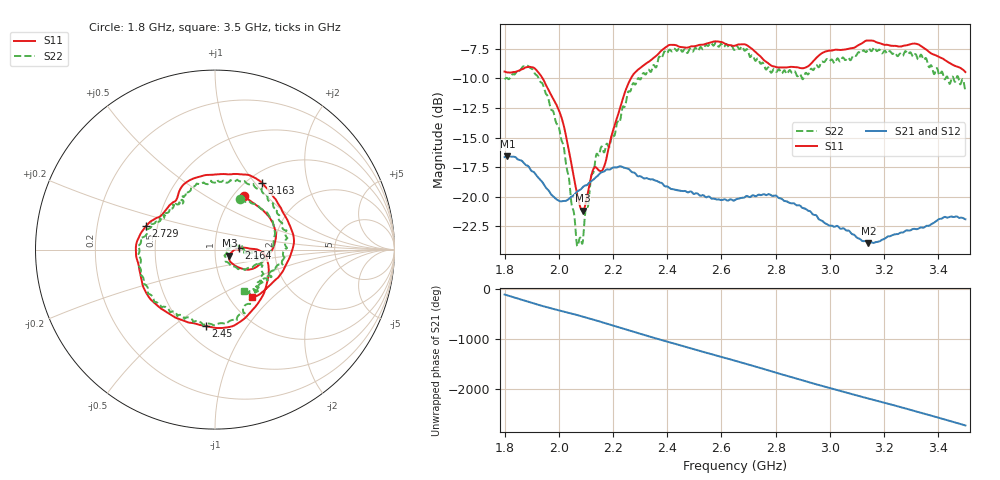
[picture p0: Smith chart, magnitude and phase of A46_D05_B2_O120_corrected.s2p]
! Created with skrf 1.9.0 (http://scikit-rf.org).
# Hz S RI R 50.0
!freq ReS11 ImS11 ReS21 ImS21 ReS12 ImS12 ReS22 ImS22
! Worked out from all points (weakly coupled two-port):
!   1601 points, 1.8 GHz to 3.5 GHz, reference 50 ohm
!   highest |S21| = -16.56 dB at 1.811 GHz (marker M1); lowest = -23.9 dB at 3.142 GHz (marker M2)
!   lowest |S11| = -21.2 dB at 2.088 GHz (marker M3), VSWR 1.19, Z = 58.6 - j3.93 ohm
!   |S11| at or under -10 dB: 1.941 GHz to 2.266 GHz (325.2 MHz wide, 15.5 % of centre)
!   |S22| runs from -24.2 to -7.0 dB; largest |S21 - S12| = 0.0023
!   S11 on the Smith chart (normalised r, x): 1.8 GHz: 1.12, +0.75; 2.164 GHz: 1.30, +0.02; 2.45 GHz: 0.63, -0.66; 2.729 GHz: 0.43, +0.13; 3.163 GHz: 1.16, +1.09; 3.5 GHz: 1.27, -0.76
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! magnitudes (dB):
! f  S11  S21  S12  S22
! 1.8 GHz  -9.4  -16.6  -16.6  -10.1
! 1.811 GHz  -9.5  -16.6  -16.6  -10.0
! 1.883 GHz  -9.0  -17.4  -17.4  -8.9
! 1.941 GHz  -10.0  -18.8  -18.8  -10.5
! 2.011 GHz  -13.4  -20.4  -20.4  -15.3
! 2.066 GHz  -19.6  -19.6  -19.6  -23.9
! 2.084 GHz  -21.1  -19.3  -19.3  -23.8
! 2.088 GHz  -21.2  -19.2  -19.2  -23.9
! 2.13 GHz  -17.5  -18.5  -18.5  -17.6
! 2.164 GHz  -17.6  -17.9  -17.8  -16.2
! 2.26 GHz  -10.3  -17.7  -17.7  -11.1
! 2.367 GHz  -7.9  -18.7  -18.7  -8.3
! 2.45 GHz  -7.3  -19.5  -19.5  -7.6
! 2.65 GHz  -7.2  -20.3  -20.2  -7.5
! 2.729 GHz  -7.8  -19.9  -19.9  -8.4
! 2.805 GHz  -9.1  -20.0  -20.0  -9.4
! 2.934 GHz  -8.7  -21.4  -21.3  -9.2
! 3.142 GHz  -6.8  -23.9  -23.8  -7.5
! 3.163 GHz  -6.8  -23.9  -23.8  -7.4
! 3.217 GHz  -7.2  -23.3  -23.3  -7.7
! 3.324 GHz  -7.1  -22.7  -22.7  -8.3
! 3.5 GHz  -9.5  -21.9  -21.9  -11.0
